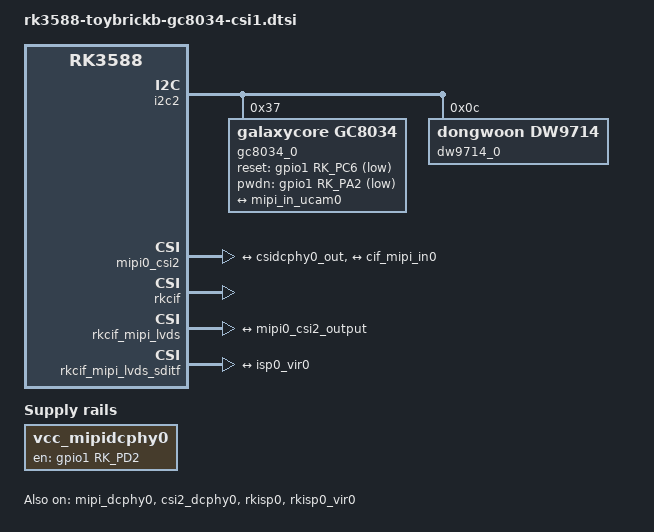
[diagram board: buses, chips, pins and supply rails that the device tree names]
/ {

	vcc_mipidcphy0: vcc-mipidcphy0-regulator {
		compatible = "regulator-fixed";
		gpio = <&gpio1 RK_PD2 GPIO_ACTIVE_HIGH>;
		pinctrl-names = "default";
		pinctrl-0 = <&mipidcphy0_pwr>;
		regulator-name = "vcc_mipidcphy0";
		enable-active-high;
		regulator-always-on;
		regulator-boot-on;
	};
};

&i2c2 {
	status = "okay";
	pinctrl-0 = <&i2c2m4_xfer>;

	gc8034_0: gc8034-0@37 {
		compatible = "galaxycore,gc8034";
		status = "okay";
		reg = <0x37>;
		clocks = <&cru CLK_MIPI_CAMARAOUT_M1>;
		clock-names = "xvclk";
		power-domains = <&power RK3588_PD_VI>;
		reset-gpios = <&gpio1 RK_PC6 GPIO_ACTIVE_LOW>;
		pwdn-gpios = <&gpio1 RK_PA2 GPIO_ACTIVE_LOW>;
		pinctrl-names = "default";
		pinctrl-0 = <&mipim0_camera1_clk>;
		rockchip,camera-module-index = <0>;
		rockchip,camera-module-facing = "back";
		rockchip,camera-module-name = "RK-CMK-8M-2-v1";
		rockchip,camera-module-lens-name = "CK8401";
		lens-focus = <&dw9714_0>;
		port {
			gc8034_out0: endpoint {
				remote-endpoint = <&mipi_in_ucam0>;
				data-lanes = <1 2 3 4>;
			};
		};
	};

	dw9714_0: dw9714-0@c {
		status = "okay";
		compatible = "dongwoon,dw9714";
		reg = <0x0c>;
		rockchip,camera-module-index = <0>;
		rockchip,camera-module-facing = "back";
	};
};

&mipi_dcphy0 {
	status = "okay";
};

&csi2_dcphy0 {
	status = "okay";

	ports {
		#address-cells = <1>;
		#size-cells = <0>;
		port@0 {
			reg = <0>;
			#address-cells = <1>;
			#size-cells = <0>;

			mipi_in_ucam0: endpoint@1 {
				reg = <1>;
				remote-endpoint = <&gc8034_out0>;
				data-lanes = <1 2 3 4>;
			};
		};
		port@1 {
			reg = <1>;
			#address-cells = <1>;
			#size-cells = <0>;

			csidcphy0_out: endpoint@0 {
				reg = <0>;
				remote-endpoint = <&mipi0_csi2_input>;
			};
		};
	};
};

&mipi0_csi2 {
	status = "okay";

	ports {
		#address-cells = <1>;
		#size-cells = <0>;

		port@0 {
			reg = <0>;
			#address-cells = <1>;
			#size-cells = <0>;

			mipi0_csi2_input: endpoint@1 {
				reg = <1>;
				remote-endpoint = <&csidcphy0_out>;
			};
		};

		port@1 {
			reg = <1>;
			#address-cells = <1>;
			#size-cells = <0>;

			mipi0_csi2_output: endpoint@0 {
				reg = <0>;
				remote-endpoint = <&cif_mipi_in0>;
			};
		};
	};
};

&rkcif {
	status = "okay";
};

&rkcif_mmu {
	status = "okay";
};

&rkcif_mipi_lvds {
	status = "okay";

	port {
		cif_mipi_in0: endpoint {
			remote-endpoint = <&mipi0_csi2_output>;
		};
	};
};

&rkcif_mipi_lvds_sditf {
	status = "okay";

	port {
		mipi_lvds_sditf: endpoint {
			remote-endpoint = <&isp0_vir0>;
		};
	};
};

&rkisp0 {
	status = "okay";
};

&isp0_mmu {
	status = "okay";
};

&rkisp0_vir0 {
	status = "okay";

	port {
		#address-cells = <1>;
		#size-cells = <0>;

		isp0_vir0: endpoint@0 {
			reg = <0>;
			remote-endpoint = <&mipi_lvds_sditf>;
		};
	};
};

&pinctrl {
	mipidcphy0_pwr: mipidcphy0-pwr {
		rockchip,pins =
			/* camera power en */
			<1 RK_PD2 RK_FUNC_GPIO &pcfg_output_high>;
	};
};
